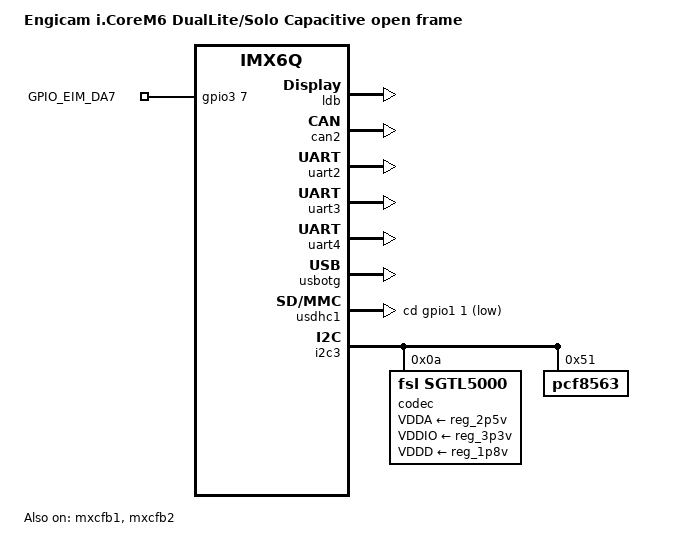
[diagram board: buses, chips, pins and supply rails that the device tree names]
/*
 * Copyright (C) 2013 Freescale Semiconductor, Inc.
 *
 * This program is free software; you can redistribute it and/or modify
 * it under the terms of the GNU General Public License version 2 as
 * published by the Free Software Foundation.
 */

/dts-v1/;

#include "imx6q.dtsi"
#include "imx6qdl-icore.dtsi"

/ {
	model = "Engicam i.CoreM6 DualLite/Solo Capacitive open frame";
	compatible = "fsl,imx6-icore", "fsl,imx6q";

	gpio_export {
		compatible = "gpio-export";
		#size-cells = <0>;
		
		GPIO_EIM_DA7 {
			gpio-export,name = "GPIO_EIM_DA7";
			gpio-export,input = <1>;
			gpios = <&gpio3 7 0>;
		};				
	};
};

&ldb {
	status = "okay";

	lvds-channel@0 {
		fsl,data-mapping = "spwg";
		fsl,data-width = <24>;
		status = "okay";
		crtc = "ipu1-di0";
		primary;

		display-timings {
                        native-mode = <&timing1>;
                        timing1: hsd100pxn1 {
                                clock-frequency = <76000000>;
                                hactive = <1360>;
                                vactive = <768>;
                                hback-porch = <40>;
                                hfront-porch = <40>;
                                vback-porch = <5>;
                                vfront-porch = <5>;
                                hsync-len = <5>;
                                vsync-len = <5>;
                        };
                };
	};
};

&mxcfb1 {
	interface_pix_fmt = "RGB24";
	default_bpp = <32>;
	mode_str ="Amp-WD";
	status = "okay";
};

&mxcfb2 {
	status = "okay";
};

&can2 {
	status = "okay";
};

&uart2 {
	status = "okay";
};

&uart3 {
	status = "okay";
};

&uart4 {
	status = "okay";
};

&usbotg {
	status = "okay";
};

&usdhc1 {
	cd-gpios = <&gpio1 1 GPIO_ACTIVE_LOW>;
	status = "okay";
};

&i2c3 {
	codec: sgtl5000@0a {
		compatible = "fsl,sgtl5000";
		reg = <0x0a>;
		clocks = <&clks 201>;
		VDDA-supply = <&reg_2p5v>;
		VDDIO-supply = <&reg_3p3v>;
		VDDD-supply = <&reg_1p8v>;
	};
	
	pcf8563: rtc@51 {
		compatible = "pcf8563";
		reg = <0x51>;
	};
};

&iomuxc {
	hog {
		pinctrl_hog: hoggrp {
			fsl,pins = <
				MX6QDL_PAD_EIM_DA7__GPIO3_IO07 0x1f059 /* EIM_DA07 forced to GPIO in */
				MX6QDL_PAD_GPIO_1__GPIO1_IO01  0x1f059 /*CD SD CARD*/
			>;
		};
	};
};
